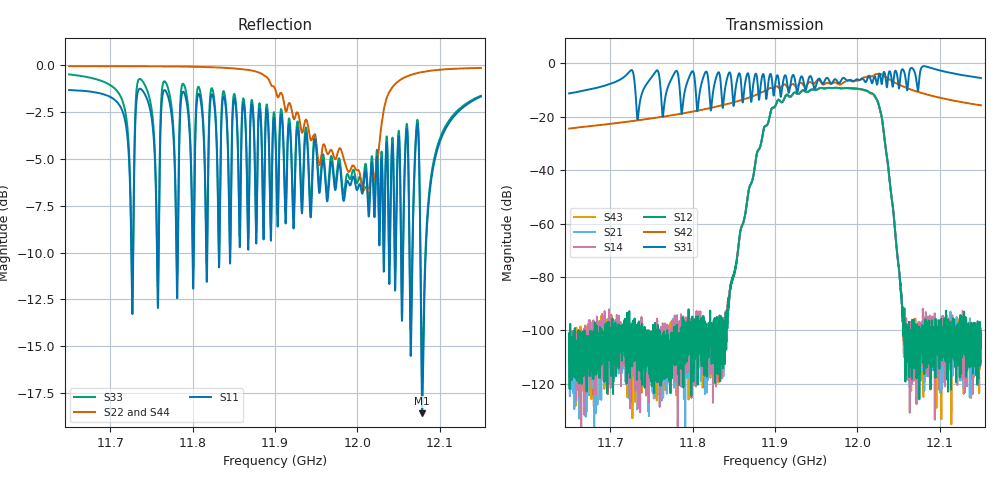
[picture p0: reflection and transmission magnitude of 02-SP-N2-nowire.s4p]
#  HZ  S  RI  R  50.00
! Rohde & Schwarz ZVA24 4Ports - Version 2.92 - 1145.1110k26 SN: 100307
! Date: 2021-03-18 14:37:57
! Measurements: S11 S12 S13 S14 S21 S22 S23 S24 S31 S32 S33 S34 S41 S42 S43 S44
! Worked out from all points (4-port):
!   3334 points, 11.65 GHz to 12.15 GHz, reference 50 ohm
!   strongest paths, dB at 11.65 GHz, 11.775 GHz, 11.9 GHz, 12.025 GHz, 12.15 GHz:
!     S31: -11.2, -5.4, -8.2, -6.2, -5.5
!     S42: -24.4, -19.4, -8.8, -3.9, -15.7
!     S12: -112.2, -116.9, -16.1, -14.5, -106.7
!     S14: -117.3, -100.9, -16.2, -14.5, -101.3
!     S21: -102.6, -112.6, -16.1, -14.5, -100.8
!     S43: -107.9, -112.4, -16.2, -14.6, -99.3
!   lowest |S11| = -18.6 dB at 12.079 GHz (marker M1), VSWR 1.27, Z = 54.2 + j11.6 ohm
!   |S11| at or under -10 dB: 12.05299 GHz to 12.05555 GHz (2.56 MHz wide, 0.0212 % of centre); 12.0632 GHz to 12.06685 GHz (3.65 MHz wide, 0.0303 % of centre); 12.07649 GHz to 12.08298 GHz (6.489 MHz wide, 0.0537 % of centre)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
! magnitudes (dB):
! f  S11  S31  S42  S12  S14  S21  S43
! 11.65 GHz  -1.3  -11.2  -24.4  -112.2  -117.3  -102.6  -107.9
! 11.848 GHz  -3.4  -9.9  -14.7  -80.3  -81.4  -80.8  -81.0
! 11.896 GHz  -6.0  -6.3  -9.3  -16.7  -16.8  -16.7  -16.8
! 11.974 GHz  -6.6  -6.0  -7.1  -9.1  -9.1  -9.1  -9.2
! 12.024 GHz  -4.9  -7.8  -4.0  -13.5  -13.5  -13.5  -13.6
! 12.079 GHz  -18.6  -1.3  -11.2  -104.8  -103.4  -111.9  -101.0
! 12.15 GHz  -1.7  -5.5  -15.7  -106.7  -101.3  -100.8  -99.3
